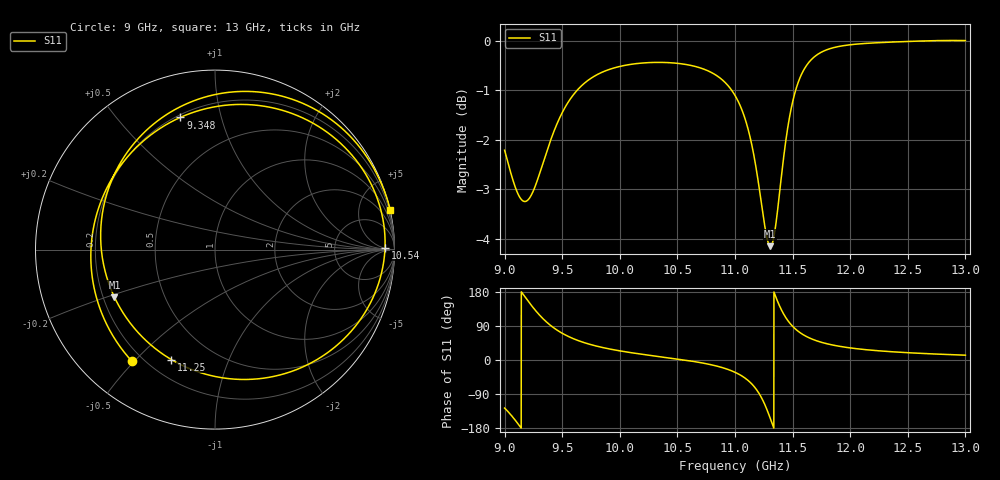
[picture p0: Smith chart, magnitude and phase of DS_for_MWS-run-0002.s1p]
! TOUCHSTONE file generated by CST DESIGN STUDIO
! Date and time: Tue Jan 28 13:43:11 2025
! Project name: C:\Work\MatlabApps\UnitCellOptimizationMatlab\CST\unitcell.cst
! Tree item: Tasks\Sweep1\SPara1\S-Parameters
! Header version: 2024
! Port assignment regex: !\s*Touchstone port\s*([0-9]+)\s*=\s*(CST MWS port|CST DES external port|CST DES block port)\s*(.+)\s* \(\"(.*)\"\)(\s*mode\s*([0-9]+))?.*
! Touchstone port assignment:
! Touchstone port 1 = CST DES external port 1 ("")
# GHz S MA R 50
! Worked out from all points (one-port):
!   4001 points, 9 GHz to 13 GHz, reference 50 ohm
!   lowest |S11| = -4.2 dB at 11.31 GHz (marker M1), VSWR 4.26, Z = 12.3 - j10.6 ohm
!   |S11| at or under -10 dB: nowhere
!   S11 on the Smith chart (normalised r, x): 9 GHz: 0.16, -0.49; 9.348 GHz: 0.21, +0.75; 10.54 GHz: 35, +8; 11.25 GHz: 0.29, -0.64; 13 GHz: -0.01, +8.97
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9  0.775 -126.8
9.093  0.7108 -159.2
9.166  0.688 171.2
9.262  0.7109 132.9
9.348  0.7614 104.7
9.417  0.8034 87.0
9.5  0.8457 70.6
9.711  0.9094 43.9
10  0.9418 24.1
10.5  0.9487 2.6
10.544  0.9473 0.7
10.824  0.9246 -14.7
11  0.8804 -32.4
11.071  0.8446 -44.3
11.132  0.7979 -59.0
11.199  0.7239 -83.6
11.25  0.6591 -111.7
11.307  0.6198 -154.7
11.357  0.6555 164.2
11.412  0.7449 127.0
11.453  0.8099 106.5
11.5  0.867 89.0
11.587  0.9296 67.7
11.689  0.9632 52.8
11.82  0.9812 41.3
12  0.9906 31.9
12.5  0.9982 19.3
13  1 12.7
